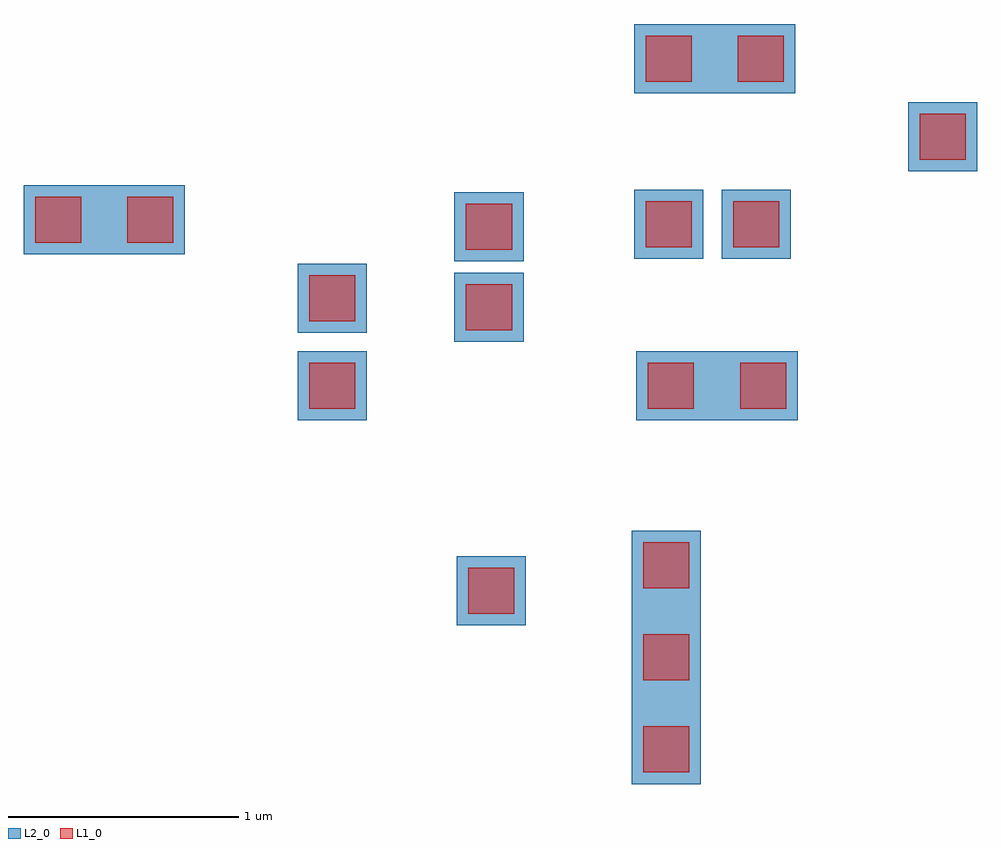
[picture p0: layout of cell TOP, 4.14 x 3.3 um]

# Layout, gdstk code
from math import pi, radians
import gdstk
lib = gdstk.Library(unit=1e-6, precision=1e-09)
def R(c, l, rs):  # rectangles x0, y0, x1, y1
    for r in rs: c.add(gdstk.rectangle(r[:2], r[2:], *l))
L1_0 = (1, 0)
L2_0 = (2, 0)

via1 = lib.new_cell('VIA1')
R(via1, L1_0, [(-0.1,-0.1,0.1,0.1)])
R(via1, L2_0, [(-0.15,-0.15,0.15,0.15)])

via2 = lib.new_cell('VIA2')
R(via2, L1_0, [(-0.3,-0.1,-0.1,0.1), (0.1,-0.1,0.3,0.1)])
R(via2, L2_0, [(-0.35,-0.15,0.35,0.15)])

c_a = lib.new_cell('A')
c_a.add(gdstk.Reference(via2, (1.14,0.15)))
c_a.add(gdstk.Reference(via1, (0.15,0.49), rotation=pi/2))

top = lib.new_cell('TOP')
R(top, L2_0, [(0.7,-1.23,1,-0.13)])
top.add(gdstk.Reference(via1, (-0.6,0.5)))
top.add(gdstk.Reference(c_a, (-0.45,1.37), rotation=pi))
top.add(gdstk.Reference(via2, (0.85,-0.48), rotation=pi/2))
top.add(gdstk.Reference(via1, (0.85,-1.08), rotation=pi/2))
top.add(gdstk.Reference(via1, (0.86,1.2), rotation=pi/2))
top.add(gdstk.Reference(via1, (0.08,1.19), rotation=pi/2))
top.add(gdstk.Reference(c_a, (2.2,2.07), rotation=pi))
top.add(gdstk.Reference(via1, (1.24,1.2), rotation=pi/2))
top.add(gdstk.Reference(c_a, (-0.07,0.35)))
top.add(gdstk.Reference(via1, (0.09,-0.39), rotation=pi))

lib.write_gds('TOP.gds')
